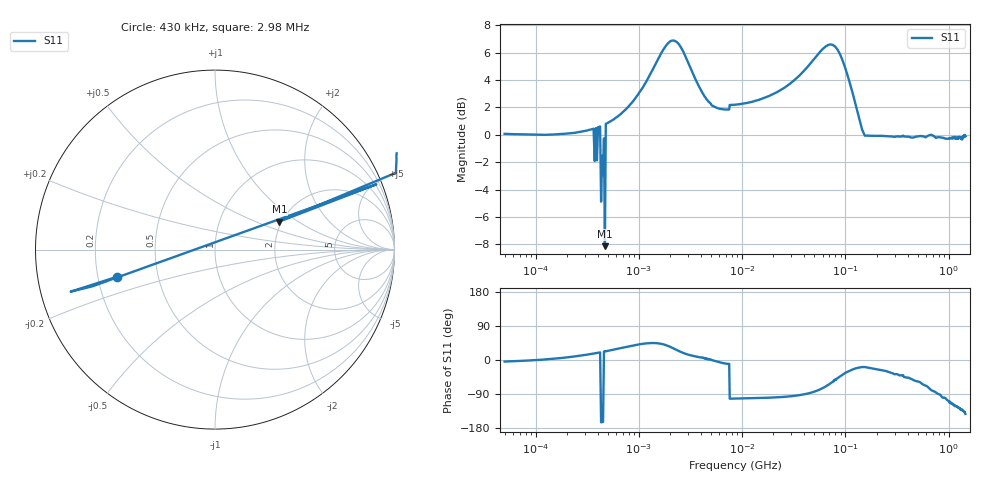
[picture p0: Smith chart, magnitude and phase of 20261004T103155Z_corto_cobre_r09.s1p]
! piloto_corto / corto_cobre / r09
# HZ S RI R 50
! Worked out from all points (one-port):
!   501 points, 50 kHz to 1.45 GHz, reference 50 ohm
!   lowest |S11| = -8.1 dB at 468 kHz (marker M1), VSWR 2.29, Z = 97.3 + j36 ohm
!   |S11| at or under -10 dB: nowhere
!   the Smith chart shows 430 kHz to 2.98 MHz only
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50000  1.005 -0.0724
183000  1.001 0.0991
401500  1.007 0.3484
430000  -0.5488 -0.1523
449000  -0.6824 -0.2043
468000  0.3593 0.1564
477500  1.008 0.4282
496500  1.009 0.4484
658000  1.016 0.6124
1180000  1.129 1.085
1630000  1.448 1.342
1990000  1.788 1.263
2440000  1.961 0.8525
3430000  1.607 0.2892
4870000  1.306 0.0254
7300000  1.218 -0.2182
7750000  -0.2682 -1.255
8560000  -0.2642 -1.259
3.16e7  -0.1325 -1.571
4.87e7  0.183 -1.864
6.67e7  0.82 -1.954
8.83e7  1.435 -1.353
1e8  1.452 -0.9648
1.18e8  1.279 -0.5877
1.63e8  0.9337 -0.3375
4.06e8  0.6806 -0.7113
8.2e8  -0.0195 -0.9782
1.45e9  -0.7811 -0.6078
